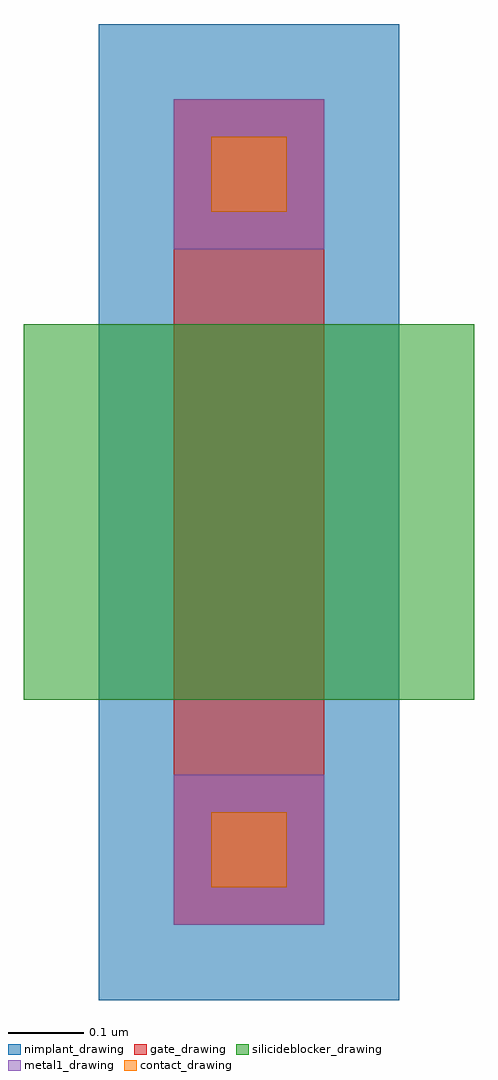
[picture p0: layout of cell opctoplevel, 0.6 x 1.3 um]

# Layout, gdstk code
import gdstk
lib = gdstk.Library(unit=1e-6, precision=1e-09)
def R(c, l, rs):  # rectangles x0, y0, x1, y1
    for r in rs: c.add(gdstk.rectangle(r[:2], r[2:], *l))
nimplant_drawing = (5, 0)
gate_drawing = (6, 0)
contact_drawing = (7, 0)
metal1_drawing = (8, 0)
silicideblocker_drawing = (28, 0)

opctoplevel = lib.new_cell('opctoplevel')
R(opctoplevel, nimplant_drawing, [(-0.1,-0.1,0.3,1.2)])
R(opctoplevel, gate_drawing, [(0,0,0.2,1.1), (0,0,0.2,0.2), (0,0.9,0.2,1.1)])
R(opctoplevel, contact_drawing, [(0.05,0.05,0.15,0.15), (0.05,0.95,0.15,1.05)])
R(opctoplevel, metal1_drawing, [(0,0,0.2,0.2), (0,0,0.2,0.2), (0,0.9,0.2,1.1), (0,0.9,0.2,1.1)])
R(opctoplevel, silicideblocker_drawing, [(-0.2,0.3,0.4,0.8)])

lib.write_gds('opctoplevel.gds')
